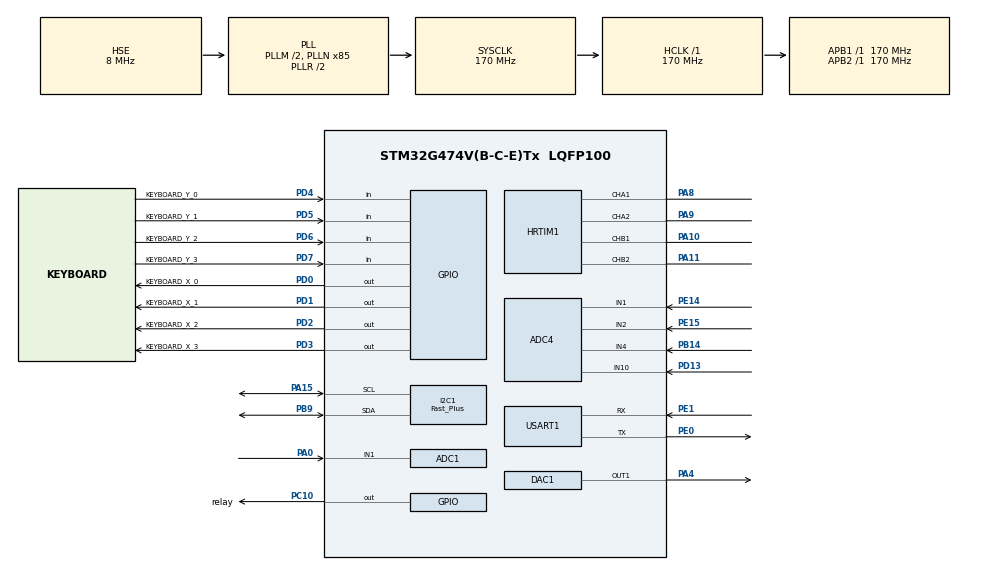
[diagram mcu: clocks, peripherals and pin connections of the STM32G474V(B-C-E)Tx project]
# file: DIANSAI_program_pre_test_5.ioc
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ADC1.Channel-0\#ChannelRegularConversion=ADC_CHANNEL_1
ADC1.DMAContinuousRequests=ENABLE
ADC1.DiscontinuousConvMode=DISABLE
ADC1.EOCSelection=ADC_EOC_SEQ_CONV
ADC1.EnableAnalogWatchDog2=false
ADC1.ExternalTrigConv=ADC_EXTERNALTRIG_HRTIM_TRG1
ADC1.NbrOfConversion=1
ADC1.NbrOfConversionFlag=1
ADC1.OffsetNumber-0\#ChannelRegularConversion=ADC_OFFSET_NONE
ADC1.Overrun=ADC_OVR_DATA_OVERWRITTEN
ADC1.OversamplingMode=ENABLE
ADC1.Rank-0\#ChannelRegularConversion=1
ADC1.Ratio=ADC_OVERSAMPLING_RATIO_32
ADC1.RightBitShift=ADC_RIGHTBITSHIFT_5
ADC1.SamplingTime-0\#ChannelRegularConversion=ADC_SAMPLETIME_12CYCLES_5
ADC1.master=1
ADC4.Channel-0\#ChannelRegularConversion=ADC_CHANNEL_1
ADC4.Channel-1\#ChannelRegularConversion=ADC_CHANNEL_4
ADC4.Channel-2\#ChannelRegularConversion=ADC_CHANNEL_10
ADC4.DMAContinuousRequests=ENABLE
ADC4.DiscontinuousConvMode=ENABLE
ADC4.EOCSelection=ADC_EOC_SEQ_CONV
ADC4.ExternalTrigConv=ADC_EXTERNALTRIG_HRTIM_TRG1
ADC4.NbrOfConversion=3
ADC4.NbrOfConversionFlag=1
ADC4.NbrOfDiscConversion=3
ADC4.OffsetNumber-0\#ChannelRegularConversion=ADC_OFFSET_NONE
ADC4.OffsetNumber-1\#ChannelRegularConversion=ADC_OFFSET_NONE
ADC4.OffsetNumber-2\#ChannelRegularConversion=ADC_OFFSET_NONE
ADC4.Overrun=ADC_OVR_DATA_OVERWRITTEN
ADC4.OversamplingMode=ENABLE
ADC4.Rank-0\#ChannelRegularConversion=1
ADC4.Rank-1\#ChannelRegularConversion=2
ADC4.Rank-2\#ChannelRegularConversion=3
ADC4.Ratio=ADC_OVERSAMPLING_RATIO_8
ADC4.RightBitShift=ADC_RIGHTBITSHIFT_3
ADC4.SamplingTime-0\#ChannelRegularConversion=ADC_SAMPLETIME_12CYCLES_5
ADC4.SamplingTime-1\#ChannelRegularConversion=ADC_SAMPLETIME_12CYCLES_5
ADC4.SamplingTime-2\#ChannelRegularConversion=ADC_SAMPLETIME_12CYCLES_5
ADC4.SingleDiff-0\#ChannelRegularConversion=ADC_DIFFERENTIAL_ENDED
DAC1.DAC_OutputBuffer-DAC_OUT1=DAC_OUTPUTBUFFER_DISABLE
Dma.ADC1.0.Direction=DMA_PERIPH_TO_MEMORY
Dma.ADC1.0.EventEnable=DISABLE
Dma.ADC1.0.Instance=DMA1_Channel1
Dma.ADC1.0.MemDataAlignment=DMA_MDATAALIGN_HALFWORD
Dma.ADC1.0.MemInc=DMA_MINC_ENABLE
Dma.ADC1.0.Mode=DMA_CIRCULAR
Dma.ADC1.0.PeriphDataAlignment=DMA_PDATAALIGN_HALFWORD
Dma.ADC1.0.PeriphInc=DMA_PINC_DISABLE
Dma.ADC1.0.Polarity=HAL_DMAMUX_REQ_GEN_RISING
Dma.ADC1.0.Priority=DMA_PRIORITY_VERY_HIGH
Dma.ADC1.0.RequestNumber=1
Dma.ADC1.0.SignalID=NONE
Dma.ADC1.0.SyncEnable=DISABLE
Dma.ADC1.0.SyncPolarity=HAL_DMAMUX_SYNC_NO_EVENT
Dma.ADC1.0.SyncRequestNumber=1
Dma.ADC1.0.SyncSignalID=NONE
Dma.ADC4.2.Direction=DMA_PERIPH_TO_MEMORY
Dma.ADC4.2.EventEnable=DISABLE
Dma.ADC4.2.Instance=DMA1_Channel3
Dma.ADC4.2.MemDataAlignment=DMA_MDATAALIGN_HALFWORD
Dma.ADC4.2.MemInc=DMA_MINC_ENABLE
Dma.ADC4.2.Mode=DMA_CIRCULAR
Dma.ADC4.2.PeriphDataAlignment=DMA_PDATAALIGN_HALFWORD
Dma.ADC4.2.PeriphInc=DMA_PINC_DISABLE
Dma.ADC4.2.Polarity=HAL_DMAMUX_REQ_GEN_RISING
Dma.ADC4.2.Priority=DMA_PRIORITY_VERY_HIGH
Dma.ADC4.2.RequestNumber=1
Dma.ADC4.2.SignalID=NONE
Dma.ADC4.2.SyncEnable=DISABLE
Dma.ADC4.2.SyncPolarity=HAL_DMAMUX_SYNC_NO_EVENT
Dma.ADC4.2.SyncRequestNumber=1
Dma.ADC4.2.SyncSignalID=NONE
Dma.DAC1_CH1.1.Direction=DMA_MEMORY_TO_PERIPH
Dma.DAC1_CH1.1.EventEnable=DISABLE
Dma.DAC1_CH1.1.Instance=DMA1_Channel2
Dma.DAC1_CH1.1.MemDataAlignment=DMA_MDATAALIGN_HALFWORD
Dma.DAC1_CH1.1.MemInc=DMA_MINC_ENABLE
Dma.DAC1_CH1.1.Mode=DMA_CIRCULAR
Dma.DAC1_CH1.1.PeriphDataAlignment=DMA_PDATAALIGN_HALFWORD
Dma.DAC1_CH1.1.PeriphInc=DMA_PINC_DISABLE
Dma.DAC1_CH1.1.Polarity=HAL_DMAMUX_REQ_GEN_RISING
Dma.DAC1_CH1.1.Priority=DMA_PRIORITY_LOW
Dma.DAC1_CH1.1.RequestNumber=1
Dma.DAC1_CH1.1.SignalID=NONE
Dma.DAC1_CH1.1.SyncEnable=DISABLE
Dma.DAC1_CH1.1.SyncPolarity=HAL_DMAMUX_SYNC_NO_EVENT
Dma.DAC1_CH1.1.SyncRequestNumber=1
Dma.DAC1_CH1.1.SyncSignalID=NONE
Dma.Request0=ADC1
Dma.Request1=DAC1_CH1
Dma.Request2=ADC4
HRTIM1.ADCTrigger1_Source1=HRTIM_ADCTRIGGEREVENT13_MASTER_CMP4
HRTIM1.ADCTrigger_Id1=HRTIM_ADCTRIGGER_1
HRTIM1.CompareUnit1-MasterTimer=__NULL
HRTIM1.CompareUnit1-Output_TA1TA2=HRTIM_COMPAREUNIT_1
HRTIM1.CompareUnit1-Output_TB1TB2=HRTIM_COMPAREUNIT_1
HRTIM1.CompareUnit2-MasterTimer=HRTIM_COMPAREUNIT_2
HRTIM1.CompareUnit3-MasterTimer=HRTIM_COMPAREUNIT_3
HRTIM1.CompareUnit4-MasterTimer=HRTIM_COMPAREUNIT_4
HRTIM1.CompareValue2-MasterTimer=48
HRTIM1.CompareValue3-MasterTimer=48
HRTIM1.CompareValue4-MasterTimer=48
HRTIM1.DeadTimeInsertion-Output_TA1TA2=HRTIM_TIMDEADTIMEINSERTION_ENABLED
HRTIM1.DeadTimeInsertion-Output_TB1TB2=HRTIM_TIMDEADTIMEINSERTION_ENABLED
HRTIM1.FallingSign-Output_TA1TA2=HRTIM_TIMDEADTIME_FALLINGSIGN_POSITIVE
HRTIM1.FallingSign-Output_TB1TB2=HRTIM_TIMDEADTIME_FALLINGSIGN_POSITIVE
HRTIM1.FallingValue-Output_TA1TA2=100
HRTIM1.FallingValue-Output_TB1TB2=100
HRTIM1.ModeTimeBase-Output_TA1TA2=HRTIM_MODE_SINGLESHOT_RETRIGGERABLE
HRTIM1.ModeTimeBase-Output_TB1TB2=HRTIM_MODE_SINGLESHOT_RETRIGGERABLE
HRTIM1.NumberADCTriggerSource1=1
HRTIM1.NumberResetSource1-Output_TA1TA2=1
HRTIM1.NumberResetSource1-Output_TB1TB2=1
HRTIM1.NumberResetTrigger-Output_TA1TA2=1
HRTIM1.NumberResetTrigger-Output_TB1TB2=1
HRTIM1.NumberSetSource1-Output_TA1TA2=1
HRTIM1.NumberSetSource1-Output_TB1TB2=1
HRTIM1.Periode_MASTER=54400
HRTIM1.Periode_TA=54400
HRTIM1.Periode_TB=54400
HRTIM1.PreloadEnable-MasterTimer=HRTIM_PRELOAD_ENABLED
HRTIM1.PreloadEnable-Output_TA1TA2=HRTIM_PRELOAD_ENABLED
HRTIM1.PreloadEnable-Output_TB1TB2=HRTIM_PRELOAD_ENABLED
HRTIM1.PrescalerRatio_MASTER=HRTIM_PRESCALERRATIO_MUL16
HRTIM1.PrescalerRatio_TA=HRTIM_PRESCALERRATIO_MUL16
HRTIM1.PrescalerRatio_TB=HRTIM_PRESCALERRATIO_MUL16
HRTIM1.RepetitionUpdate-MasterTimer=HRTIM_UPDATEONREPETITION_ENABLED
HRTIM1.RepetitionUpdate-Output_TA1TA2=HRTIM_UPDATEONREPETITION_ENABLED
HRTIM1.RepetitionUpdate-Output_TB1TB2=HRTIM_UPDATEONREPETITION_ENABLED
HRTIM1.ResetOutput1_Source1-Output_TA1TA2=HRTIM_OUTPUTRESET_TIMCMP1
HRTIM1.ResetOutput1_Source1-Output_TB1TB2=HRTIM_OUTPUTRESET_TIMCMP1
HRTIM1.ResetTrigger1-Output_TA1TA2=HRTIM_TIMRESETTRIGGER_MASTER_CMP2
HRTIM1.ResetTrigger1-Output_TB1TB2=HRTIM_TIMRESETTRIGGER_MASTER_CMP3
HRTIM1.ResetUpdate-Output_TA1TA2=HRTIM_TIMUPDATEONRESET_ENABLED
HRTIM1.ResetUpdate-Output_TB1TB2=HRTIM_TIMUPDATEONRESET_ENABLED
HRTIM1.RisingSign-Output_TA1TA2=HRTIM_TIMDEADTIME_RISINGSIGN_POSITIVE
HRTIM1.RisingSign-Output_TB1TB2=HRTIM_TIMDEADTIME_RISINGSIGN_POSITIVE
HRTIM1.RisingValue-Output_TA1TA2=100
HRTIM1.RisingValue-Output_TB1TB2=100
HRTIM1.SetOutput1_Source1-Output_TA1TA2=HRTIM_OUTPUTSET_MASTERCMP2
HRTIM1.SetOutput1_Source1-Output_TB1TB2=HRTIM_OUTPUTSET_MASTERCMP3
I2C1.I2C_Speed_Mode=I2C_Fast_Plus
I2C1.Timing=0x00802172
Mcu.Family=STM32G4
Mcu.Name=STM32G474V(B-C-E)Tx
Mcu.Package=LQFP100
NVIC.DMA1_Channel1_IRQn=true\:0\:0\:false\:false\:true\:false\:true\:true
NVIC.DMA1_Channel2_IRQn=true\:0\:0\:false\:false\:true\:false\:true\:true
NVIC.DMA1_Channel3_IRQn=true\:0\:0\:false\:false\:true\:false\:true\:true
NVIC.PriorityGroup=NVIC_PRIORITYGROUP_4
PA0.Mode=IN1-Single-Ended
PA0.Signal=ADC1_IN1
PA10.Mode=Output_TB1TB2
PA10.Signal=HRTIM1_CHB1
PA11.Mode=Output_TB1TB2
PA11.Signal=HRTIM1_CHB2
PA13.Mode=Serial_Wire
PA13.Signal=SYS_JTMS-SWDIO
PA14.Mode=Serial_Wire
PA14.Signal=SYS_JTCK-SWCLK
PA15.Mode=I2C
PA15.Signal=I2C1_SCL
PA4.Signal=COMP_DAC11_group
PA8.Mode=Output_TA1TA2
PA8.Signal=HRTIM1_CHA1
PA9.Mode=Output_TA1TA2
PA9.Signal=HRTIM1_CHA2
PB14.Mode=IN4-Single-Ended
PB14.Signal=ADC4_IN4
PB9.Mode=I2C
PB9.Signal=I2C1_SDA
PC10.GPIO_Label=relay
PC10.GPIO_Speed=GPIO_SPEED_FREQ_VERY_HIGH
PC10.PinState=GPIO_PIN_SET
PC10.Signal=GPIO_Output
PD0.GPIO_Label=KEYBOARD_X_0
PD0.GPIO_PuPd=GPIO_NOPULL
PD0.GPIO_Speed=GPIO_SPEED_FREQ_VERY_HIGH
PD0.PinState=GPIO_PIN_RESET
PD0.Signal=GPIO_Output
PD1.GPIO_Label=KEYBOARD_X_1
PD1.GPIO_PuPd=GPIO_NOPULL
PD1.GPIO_Speed=GPIO_SPEED_FREQ_VERY_HIGH
PD1.PinState=GPIO_PIN_RESET
PD1.Signal=GPIO_Output
PD13.Mode=IN10-Single-Ended
PD13.Signal=ADC4_IN10
PD2.GPIO_Label=KEYBOARD_X_2
PD2.GPIO_PuPd=GPIO_NOPULL
PD2.GPIO_Speed=GPIO_SPEED_FREQ_VERY_HIGH
PD2.PinState=GPIO_PIN_RESET
PD2.Signal=GPIO_Output
PD3.GPIO_Label=KEYBOARD_X_3
PD3.GPIO_PuPd=GPIO_NOPULL
PD3.GPIO_Speed=GPIO_SPEED_FREQ_VERY_HIGH
PD3.PinState=GPIO_PIN_RESET
PD3.Signal=GPIO_Output
PD4.GPIO_Label=KEYBOARD_Y_0
PD4.GPIO_Mode=GPIO_MODE_INPUT
PD4.GPIO_PuPd=GPIO_PULLDOWN
PD4.Signal=GPIO_Input
PD5.GPIO_Label=KEYBOARD_Y_1
PD5.GPIO_Mode=GPIO_MODE_INPUT
PD5.GPIO_PuPd=GPIO_PULLDOWN
PD5.Signal=GPIO_Input
PD6.GPIO_Label=KEYBOARD_Y_2
PD6.GPIO_Mode=GPIO_MODE_INPUT
PD6.GPIO_PuPd=GPIO_PULLDOWN
PD6.Signal=GPIO_Input
PD7.GPIO_Label=KEYBOARD_Y_3
PD7.GPIO_Mode=GPIO_MODE_INPUT
PD7.GPIO_PuPd=GPIO_PULLDOWN
PD7.Signal=GPIO_Input
PE0.Mode=Asynchronous
PE0.Signal=USART1_TX
PE1.Mode=Asynchronous
PE1.Signal=USART1_RX
PE14.Mode=IN1-Differential
PE14.Signal=ADC4_IN1
PE15.Mode=IN1-Differential
PE15.Signal=ADC4_IN2
PF0-OSC_IN.Mode=HSE-External-Oscillator
PF0-OSC_IN.Signal=RCC_OSC_IN
PF1-OSC_OUT.Mode=HSE-External-Oscillator
PF1-OSC_OUT.Signal=RCC_OSC_OUT
ProjectManager.HeapSize=0x400
ProjectManager.StackSize=0x800
ProjectManager.TargetToolchain=MDK-ARM V5.32
RCC.ADC12Freq_Value=170000000
RCC.ADC345Freq_Value=170000000
RCC.AHBFreq_Value=170000000
RCC.APB1Freq_Value=170000000
RCC.APB1TimFreq_Value=170000000
RCC.APB2Freq_Value=170000000
RCC.APB2TimFreq_Value=170000000
RCC.CortexFreq_Value=170000000
RCC.EXTERNAL_CLOCK_VALUE=12288000
RCC.HCLKFreq_Value=170000000
RCC.HSE_VALUE=8000000
RCC.HSI48_VALUE=48000000
RCC.HSI_VALUE=16000000
RCC.LSE_VALUE=32768
RCC.PLLM=RCC_PLLM_DIV2
RCC.PLLN=85
RCC.PLLSourceVirtual=RCC_PLLSOURCE_HSE
RCC.SYSCLKFreq_VALUE=170000000
RCC.SYSCLKSource=RCC_SYSCLKSOURCE_PLLCLK
RCC.USBFreq_Value=170000000
RCC.VCOOutputFreq_Value=340000000
SH.COMP_DAC11_group.0=DAC1_OUT1,DAC_OUT1
TIM6.AutoReloadPreload=TIM_AUTORELOAD_PRELOAD_ENABLE
TIM6.PeriodNoDither=19
TIM6.Prescaler=169
TIM6.TIM_MasterOutputTrigger=TIM_TRGO_UPDATE
USART1.VirtualMode-Asynchronous=VM_ASYNC
VP_HRTIM1_VS_hrtimMasterTimerNoOutput.Mode=MasterTimer
VP_SYS_VS_DBSignals.Mode=DisableDeadBatterySignals
VP_SYS_V_VREFBUF.Mode=ExternalMode
VP_TIM6_VS_ClockSourceINT.Mode=Enable_Timer
board=custom

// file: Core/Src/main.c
/* USER CODE BEGIN Header */
/**
 ******************************************************************************
 * @file           : main.c
 * @brief          : Main program body
 ******************************************************************************
 * @attention
 *
 * Copyright (c) 2023 STMicroelectronics.
 * All rights reserved.
 *
 * This software is licensed under terms that can be found in the LICENSE file
 * in the root directory of this software component.
 * If no LICENSE file comes with this software, it is provided AS-IS.
 *
 ******************************************************************************
 */
/* USER CODE END Header */
#include "main.h"
#include "adc.h"
#include "dac.h"
#include "dma.h"
#include "hrtim.h"
#include "i2c.h"
#include "tim.h"
#include "usart.h"
#include "gpio.h"

/* USER CODE BEGIN Includes */

#include "math.h"
#include "stdio.h"
#include "stdlib.h"
#include "stdarg.h"

#include "arm_math.h"
#include "arm_const_structs.h"

#include "spll_sogi.h"
#include "u8g2.h"

// 电流反向保护
#define USE_Current_Backfilling_PROTECT    // 电流反向保护关闭
#define PROTECT_Current_Backfilling_W (-20) // 电流反向保护：-1w

// 占空比保护
#define USE_DUTYrms_ERROR
#define USE_DUTYrms_ERROR_Value 0.85 // 参考值0.707105
int error_cnt=0;

#define _DEBUG_DUTY_SENSOR_ 2 // 定占空比测传感器极性
#define _DEBUG_ConstVol_ 2    // 恒压
#define _DEBUG_ConstCur_ 3    // 恒流
#define _DEBUG_SPGI_ 4        // 单恒流并网
#define _DEBUG_MAIN_FSM_ 5    // 调试主状态机

//#define __DEBUG _DEBUG_ConstCur_ // shit

// 逆变器为1时取1，为逆变器2是取2
#define INV_MACHINE_NUM 2
// #define INV_MACHINE_NUM 2
#if INV_MACHINE_NUM != 1 && INV_MACHINE_NUM != 2
#error INV_MACHINE_NUM must be between 1 and 2.
#endif
#ifndef INV_MACHINE_NUM
#error INV_MACHINE_NUM must be refered.
#endif //

#if INV_MACHINE_NUM == 1
#define MACHINE_Info ("INV_MACHINE_NUM:1\n")
#endif
#if INV_MACHINE_NUM == 2
#define MACHINE_Info ("INV_MACHINE_NUM:2\n")
#endif

// 并网设置
#include <math.h>
#define SYSTickFreq (170000000UL)
#define Vol_SoftStart_STEP (1.0f)
#define Cur_SoftStart_STEP (0.01f)
#define Vol_SoftStart_aimOverRate 0.05  // 5%
#define Cur_SPGI_beforeSoftStart (2.0f) // 题设：2A

#define MAIN_FSM_POWERON_NoVol_Value (5.0f)   // 低于5Vrms认为没有电压
#define MAIN_FSM_ConstVol_VALUE (24)          // 题设要求24Vrms
#define MAIN_FSM_POWERON_AVERAGE_number (100) // 100次均值滤波后判断

// fsm_UI_Com
#define CON_CUR_Io_initial Cur_SPGI_beforeSoftStart*2 //should be 2 bei
#define CON_CUR_k_initial 1

#define HRTIM_MAB_PERIOD (54400)

extern SPLL_1PH_SOGI spll1;

void error();

typedef enum ref_sine_src
{
  ref_sine_src_enum_Internal_sine = 0,
  ref_sine_src_enum_PLL_sine
} ref_sine_src_enum;

typedef enum loop_Controller
{
  V_loop = 0,
  I_loop
} loop_switch_enum;

typedef enum loopShutdown
{
  loopCtrl_on,
  loopCtrl_off
} loopShutdown_enum;
typedef struct loopCtrl
{
  ref_sine_src_enum ref_sine_src;

  loop_switch_enum loop_switch_enum;

  // 环路初始状态控制
  loopShutdown_enum loopShutdown; // 初始值占空比必须设置为0.5f

  float V_rms_aim; // 单位为Vrms，中断的代码中可以针对需求进行放大/缩小
  float I_rms_aim; // 单位为Arms，中断的代码中可以针对需求进行放大/缩小
} loopCtrl_t;

loopCtrl_t Loop_Controller;

typedef enum fsm_UI_mode
{
  fsm_UI_mode_idle,
  fsm_UI_mode_Cur,
#if INV_MACHINE_NUM == 1
  fsm_UI_mode_Vol,
#endif
} fsm_UI_mode_enum;

typedef struct Con_Cur
{
  float Io;
  float k;
  float en_flag;
} Con_Cur_t;
typedef struct fsm_UI_com
{
  fsm_UI_mode_enum fsm_UI_mode;
  Con_Cur_t Con_Cur_info;
} fsm_UI_com_t;
fsm_UI_com_t fsm_UI_communication = {fsm_UI_mode_idle, {CON_CUR_Io_initial, CON_CUR_k_initial, 1}};

GPIO_PinState MYHAL_GPIO_ReadPin(GPIO_TypeDef *GPIOx, uint16_t GPIO_Pin)
{
  return (GPIOx->IDR & GPIO_Pin) ? GPIO_PIN_SET : GPIO_PIN_RESET;
}

void MYHAL_GPIO_SetPin(GPIO_TypeDef *GPIOx, uint16_t GPIO_Pin)
{
  GPIOx->BSRR = GPIO_Pin;
}

void MYHAL_GPIO_ResetPin(GPIO_TypeDef *GPIOx, uint16_t GPIO_Pin)
{
  GPIOx->BSRR = (uint32_t)GPIO_Pin << 16U;
}

void MYHAL_GPIO_TogglePin(GPIO_TypeDef *GPIOx, uint16_t GPIO_Pin)
{
  uint32_t odr = GPIOx->ODR;
  GPIOx->BSRR = ((odr & GPIO_Pin) << 16U) | (~odr & GPIO_Pin);
}

/* USER CODE END Includes */

/* USER CODE BEGIN PTD */
#define CLAMP(x, max, min) ((x < max) ? ((x > min) ? x : min) : max)
float o_Vol, i_Vol, o_Cur, o_Cur_ref, o_Vol_ref, k_Vol, k_Cur;
float o_Vol_Vp_N, o_Vol_Vp_P, o_Vol_Vp, o_Vol_Vpp, o_Vol_rms, o_Vol_rms_sum;
float o_Cur_rms, o_Cur_rms_sum;
float acBusVol, acBusVol_rms, acBusVol_rms_sum;
float o_Power; // o_Power_rms; //o_Power=o_Vol*o_Cur

float duty_Virtual, duty_Virtual_rms, duty_Virtual_rms_sum; //-1~1

uint16_t Caculate_50k_to_50_index;

float HB_duty, ref_sine;
uint16_t ADC_Value[4] = {0};
uint16_t DAC_Value = 0;
float y0;
float y1;
float sinf_out;

float sin_Phase_det = 0; // -2.65;

float pll_sine, internal_sine;

uint32_t ARR;
/* USER CODE END PTD */

void SystemClock_Config(void);

/* USER CODE BEGIN 0 */

uint16_t ADC_buffer_1[1];
uint16_t ADC_buffer_2[3];
uint16_t DAC_buffer[1];

void MY_HRTIM_SetDuty_MAB(float duty_to_set, float duty_min, float duty_max); // 0<=duty_min<=duty_to_set<=duty_max<=1

// KEYBOARD
#define Keyboard_X 4
#define Keyboard_Y 4
__IO int i_Keyboard, j_Keyboard;
__IO GPIO_PinState Keyboard_state_temp;
__IO uint16_t Keyboard_state, Keyboard_state_last;
__IO uint8_t Keyboard_state_4x4[4][4];

GPIO_TypeDef *Keyboard_X_output_ports[Keyboard_X] = {KEYBOARD_X_0_GPIO_Port, KEYBOARD_X_1_GPIO_Port, KEYBOARD_X_2_GPIO_Port, KEYBOARD_X_3_GPIO_Port};
uint16_t Keyboard_X_output_pins[Keyboard_X] = {KEYBOARD_X_0_Pin, KEYBOARD_X_1_Pin, KEYBOARD_X_2_Pin, KEYBOARD_X_3_Pin};

GPIO_TypeDef *Keyboard_Y_output_ports[Keyboard_Y] = {KEYBOARD_Y_0_GPIO_Port, KEYBOARD_Y_1_GPIO_Port, KEYBOARD_Y_2_GPIO_Port, KEYBOARD_Y_3_GPIO_Port};
uint16_t Keyboard_Y_output_pins[Keyboard_Y] = {KEYBOARD_Y_0_Pin, KEYBOARD_Y_1_Pin, KEYBOARD_Y_2_Pin, KEYBOARD_Y_3_Pin};

char KB_input_char[32];
float KB_input_float;
uint8_t point_num;

// OLED
char OLED_I2C_Str[6][32];
u8g2_t OLED_I2C1;
uint8_t u8x8_OLED_I2C1_gpio_and_delay(U8X8_UNUSED u8x8_t *u8x8, U8X8_UNUSED uint8_t msg, U8X8_UNUSED uint8_t arg_int, U8X8_UNUSED void *arg_ptr);
uint8_t u8x8_OLED_I2C1_hw(u8x8_t *u8x8, uint8_t msg, uint8_t arg_int, void *arg_ptr);

// UI
uint8_t flash_bit;
uint8_t to_set_or_set = 0;
uint8_t Parameter_adj_enable = 0;
uint8_t value_set_now;

// 必须等于使用数量
#define Parameter_list_num 5
float Pl_test_0, Pl_test_1, Pl_test_2, Pl_test_3, Pl_test_4;
// Parameter_list
float *Parameter_list_pointer[Parameter_list_num] = {&Pl_test_0, &Pl_test_1, &Pl_test_2, &Pl_test_3, &Pl_test_4};
char Parameter_list_name[Parameter_list_num][32] = {"Pl_test_0", "Pl_test_1", "Pl_test_2", "Pl_test_3", "Pl_test_4"};

uint8_t Parameter_list_use_now;

float y0;
float y1;
float sinf_out;

/* 控制代码 */

typedef struct
{
  float A0;       /**< The derived gain, A0 = Kp + Ki + Kd . */
  float A1;       /**< The derived gain, A1 = -Kp - 2Kd. */
  float A2;       /**< The derived gain, A2 = Kd . */
  float state[3]; /**< The state array of length 3. */
  float Kp;       /**< The proportional gain. */
  float Ki;       /**< The integral gain. */
  float Kd;       /**< The derivative gain. */
} PID_t;
PID_t pid_o_Cur = {
    .Kp = 0.1,
    .Ki = 0.6};
PID_t pid_o_Vol = {
    .Kp = 0.02,
    .Ki = 0.01,
    .Kd = 0.00};
void pid_init(PID_t *S)
{
  /* Derived coefficient A0 */
  S->A0 = S->Kp + S->Ki + S->Kd;
  /* Derived coefficient A1 */
  S->A1 = (-S->Kp) - ((float)2.0f * S->Kd);
  /* Derived coefficient A2 */
  S->A2 = S->Kd;
}
float pid_process_o_Cur(PID_t *S, float aim, float current, float out_max, float out_min)
{
  pid_init(S);
  float out;
  float in = aim - current;

  /* u[t] = u[t - 1] + A0 * e[t] + A1 * e[t - 1] + A2 * e[t - 2]  */
  out = (S->A0 * in) +
        (S->A1 * S->state[0]) + (S->A2 * S->state[1]) + (S->state[2]);

  /* Update state */
  S->state[1] = S->state[0];
  S->state[0] = in;
  S->state[2] = out;

  out = CLAMP(out, out_max, out_min);
  /* return to application */
  return (out);
}
float pid_process_o_Vol(PID_t *S, float aim, float current, float out_max, float out_min)
{
  pid_init(S);
  float out;
  float in = aim - current;

  /* u[t] = u[t - 1] + A0 * e[t] + A1 * e[t - 1] + A2 * e[t - 2]  */
  out = (S->A0 * in) +
        (S->A1 * S->state[0]) + (S->A2 * S->state[1]) + (S->state[2]);

  /* Update state */
  S->state[1] = S->state[0];
  S->state[0] = in;
  S->state[2] = out;

  out = CLAMP(out, out_max, out_min);

  /* return to application */
  return (out);
}

// PR_t
#define pr_PI 3.141592654f
typedef struct
{
  float Kp;
  float Kr;
  float wo;
  float wc;
  float Ts;
  float A0, A1, A2, B0, B1, B2;
  float vo, vo_1, vo_2;
  float vi, vi_1, vi_2;
  float temp;
} PR_t;

// PR_t pr_o_Cur = {
//     .Kp = 10,
//     .Kr = 3000,
//     .wo = 50 * pr_PI * 2,
//     .wc = pr_PI,
//     .Ts = 0.00002f};
PR_t pr_o_Cur = {
    .Kp = 10,
    .Kr = 3000,
    .wo = 50 * pr_PI * 2,
    .wc = pr_PI,
    .Ts = 0.00002f};
PR_t pr_o_Vol = {
    .Kp = 10,
    .Kr = 3000,
    .wo = 50 * pr_PI * 2,
    .wc = pr_PI,
    .Ts = 0.00002};

void PR_init(PR_t *p)
{
  float temp = 0;
  // p->Ts = Ts;
  // p->Kp = Kp;
  // p->Kr = Kr;
  // p->wc = wc;
  // p->wo = wo;
  temp = 4 / p->Ts / p->Ts + 4 * p->wc / p->Ts + p->wo * p->wo;

  p->B0 = (4 * p->Kp / p->Ts / p->Ts + 4 * p->wc * (p->Kp + p->Kr) / p->Ts + p->Kp * p->wo * p->wo) / temp;
  p->B1 = (-8 * p->Kp / p->Ts / p->Ts + 2 * p->Kp * p->wo * p->wo) / temp;
  p->B2 = (4 * p->Kp / p->Ts / p->Ts - 4 * p->wc / p->Ts * (p->Kp + p->Kr) + p->Kp * p->wo * p->wo) / temp;
  p->A1 = (-8 / p->Ts / p->Ts + 2 * p->wo * p->wo) / temp;
  p->A2 = (4 / p->Ts / p->Ts - 4 * p->wc / p->Ts + p->wo * p->wo) / temp;
}
void PR_process_o_Cur_init(PR_t *p, float Kp, float Kr, float Ts, float wc, float wo)
{
  float temp = 0;
  // p->Ts = Ts;
  // p->Kp = Kp;
  // p->Kr = Kr;
  // p->wc = wc;
  // p->wo = wo;
  temp = 4 / p->Ts / p->Ts + 4 * p->wc / p->Ts + p->wo * p->wo;

  p->B0 = (4 * p->Kp / p->Ts / p->Ts + 4 * p->wc * (p->Kp + p->Kr) / p->Ts + p->Kp * p->wo * p->wo) / temp;
  p->B1 = (-8 * p->Kp / p->Ts / p->Ts + 2 * p->Kp * p->wo * p->wo) / temp;
  p->B2 = (4 * p->Kp / p->Ts / p->Ts - 4 * p->wc / p->Ts * (p->Kp + p->Kr) + p->Kp * p->wo * p->wo) / temp;
  p->A1 = (-8 / p->Ts / p->Ts + 2 * p->wo * p->wo) / temp;
  p->A2 = (4 / p->Ts / p->Ts - 4 * p->wc / p->Ts + p->wo * p->wo) / temp;
  /*PRpr;
   * ????
   * y[n]+A1[n-1]+A2[n-2]=B0x[n]+B1x[n-1]+B2[n-2]
   */
}

float PR_process_o_Cur(PR_t *p, float aim, float cur)
{
  p->vi = aim - cur;
  p->vo = -p->A1 * p->vo_1 - p->A2 * p->vo_2 + p->B0 * p->vi + p->B1 * p->vi_1 + p->B2 * p->vi_2;

  // update and store
  p->vo_2 = p->vo_1;
  p->vo_1 = p->vo;
  p->vi_2 = p->vi_1;
  p->vi_1 = p->vi;

  //  float out = CLAMP(p->vo, 99, -99);
  //  return out;
  p->vo = CLAMP(p->vo, 99, -99);
  return p->vo;
}

void PR_process_o_Vol_init(PR_t *p, float Kp, float Kr, float Ts, float wc, float wo)
{
  float temp = 0;
  p->Ts = Ts;
  p->Kp = Kp;
  p->Kr = Kr;
  p->wc = wc;
  p->wo = wo;
  temp = 4 / p->Ts / p->Ts + 4 * p->wc / p->Ts + p->wo * p->wo;

  p->B0 = (4 * p->Kp / p->Ts / p->Ts + 4 * p->wc * (p->Kp + p->Kr) / p->Ts + p->Kp * p->wo * p->wo) / temp;
  p->B1 = (-8 * p->Kp / p->Ts / p->Ts + 2 * p->Kp * p->wo * p->wo) / temp;
  p->B2 = (4 * p->Kp / p->Ts / p->Ts - 4 * p->wc / p->Ts * (p->Kp + p->Kr) + p->Kp * p->wo * p->wo) / temp;
  p->A1 = (-8 / p->Ts / p->Ts + 2 * p->wo * p->wo) / temp;
  p->A2 = (4 / p->Ts / p->Ts - 4 * p->wc / p->Ts + p->wo * p->wo) / temp;
  /*PRpr;
   * ????
   * y[n]+A1[n-1]+A2[n-2]=B0x[n]+B1x[n-1]+B2[n-2]
   */
}

float PR_process_o_Vol(PR_t *p, float aim, float cur)
{
  p->vi = aim - cur;
  p->vo = -p->A1 * p->vo_1 - p->A2 * p->vo_2 + p->B0 * p->vi + p->B1 * p->vi_1 + p->B2 * p->vi_2;

  // update and store
  p->vo_2 = p->vo_1;
  p->vo_1 = p->vo;
  p->vi_2 = p->vi_1;
  p->vi_1 = p->vi;

  float out = CLAMP(p->vo, 99, -99);
  return out;
  //  p->vo = CLAMP(p->vo, 99, -99);
  //  return p->vo;
}

int UART_printf(UART_HandleTypeDef *huart, const char *fmt, ...)
{
  va_list ap;
  va_start(ap, fmt);
  int length;
  char buffer[128];
  length = vsnprintf(buffer, 128, fmt, ap);
  HAL_UART_Transmit(huart, (uint8_t *)buffer, length, HAL_MAX_DELAY); // HAL_MAX_DELAY
  //    CDC_Transmit_FS((uint8_t*)buffer,length);
  va_end(ap);
  return length;
}

/**
 * @brief 并网业务逻辑代码
 *
 * @author TT && FF
 */

typedef enum inv_state
{
  Vol_inv,
  Cur_inv,
  Cur_GI
} inv_state_enum;
typedef enum SPGI_state
{
  IDLE,
  PLL_stage,
  Voltage_Sync_softStart,
  Voltage_Sync_stage,

  SPGI_OK,
  SPGI_SoftStart,
  SPGI_Working,
  SPGI_Error
} SPGI_state_enum; // Single Phase Grid-connected Inverter

/**
 * @brief 主业务逻辑代码  part1
 *
 * 完成赛题要求
 */

typedef enum PowerOn_acBusVol
{
  PowerOn_acBusVol_detected,
  PowerOn_acBusVol_NOT_detected,

} PowerOn_acBusVol_enum;
typedef enum main_fsm
{
  main_fsm_IDLE,
  main_fsm_Poweron_detect_stage,
#if INV_MACHINE_NUM == 1
  main_fsm_Vol_Cons,
#endif
  main_fsm_Cur_Cons
} main_fsm_enum;
typedef struct fsm
{
  main_fsm_enum main_fsm_state;
  inv_state_enum inv_state;
  SPGI_state_enum SPGI_state;

  PowerOn_acBusVol_enum PowerOn_acBusVol_state;
} fsm_t;

fsm_t fsm;

void SPGI_LED(SPGI_state_enum stageName, int LED_Value)
{
  if (stageName == IDLE)
  {
  }
  else if (stageName == PLL_stage)
  {
  }
  else if (stageName == Voltage_Sync_softStart)
  {
  }
  else if (stageName == Voltage_Sync_stage)
  {
  }
  else if (stageName == SPGI_OK)
  {
  }
  else if (stageName == SPGI_Working)
  {
  }
  else if (stageName == SPGI_Error)
  {
  }
}
void SPGI_LED_init()
{
  SPGI_LED(IDLE, 0);
  SPGI_LED(PLL_stage, 0);
  SPGI_LED(Voltage_Sync_softStart, 0);
  SPGI_LED(Voltage_Sync_stage, 0);
  SPGI_LED(SPGI_OK, 0);
  SPGI_LED(SPGI_Working, 0);
  SPGI_LED(SPGI_Error, 0);
}
unsigned int get_SysTick()
{
  return 100000000;
  // return HAL_GetTick();
}
/**
 * 斜坡函数 实现类似y=ax+b功能
 * @param slewVal x
 * @param refVal  y
 * @param slewRate a
 * @return
 */
float Slew_Func(float *slewVal, float refVal, float slewRate)
{
  static float diff = 0;
  diff = refVal - *slewVal;
  if (diff >= slewRate)
  {
    *slewVal += slewRate;
    return (1);
  }
  else if (-diff >= slewRate)
  {
    *slewVal -= slewRate;
    return (-1);
  }
  else
  {
    *slewVal = refVal;
    return (0);
  }
}
int SPGI_fsm(fsm_t *fsm,
             /*控制输入参量*/
             float acBusVol_rms, float o_Vol_rms,
             float acBusVol, float o_Vol,
             /*控制参量*/
             loopCtrl_t *ploopCtrl,
             /*继电器控制*/
             void SPGI_Connect_Func(), void SPGI_disConnect_Func())
{
  static unsigned int pllStage_t0 = 0;
  switch (fsm->SPGI_state)
  {
  case (IDLE):
  {
    fsm->SPGI_state = Voltage_Sync_softStart;
    // 切换PLL源
    ploopCtrl->ref_sine_src = ref_sine_src_enum_PLL_sine;
    // 开路，保证功率级稳定性
    (*SPGI_disConnect_Func)();
    // 初始化指示灯
    SPGI_LED_init();
    pllStage_t0 = get_SysTick(); // 跳转前记录

    // 先将输出电压幅值定为当前采样的
    ploopCtrl->V_rms_aim = o_Vol_rms;

    ploopCtrl->I_rms_aim = 0;
  }
  break;
  case (Voltage_Sync_softStart):
  {
    if (!Slew_Func(&(ploopCtrl->V_rms_aim), acBusVol_rms * (1 + Vol_SoftStart_aimOverRate), Vol_SoftStart_STEP))
    {
      fsm->SPGI_state = Voltage_Sync_stage;
      SPGI_LED(Voltage_Sync_softStart, 0);
    }
    else
    {
      fsm->SPGI_state = Voltage_Sync_softStart;
      SPGI_LED(Voltage_Sync_softStart, 1);
    }
  }
  break;

  case (Voltage_Sync_stage):
  {
    if (fabs(acBusVol_rms - o_Vol_rms) < acBusVol_rms * 0.05f)
    {
      fsm->SPGI_state = PLL_stage;
      SPGI_LED(Voltage_Sync_stage, 0);
    }
    else
    {
      fsm->SPGI_state = Voltage_Sync_stage;
      SPGI_LED(Voltage_Sync_stage, 1);
    }
  }
  break;

  case (PLL_stage):
  {
    //    float delta_tick = (float)(get_SysTick() - pllStage_t0);
    //    if (delta_tick < 0)
    //    {
    //      delta_tick = 2.0f * SYSTickFreq;
    //    }
    //    if ((fabsf(acBusVol - o_Vol) < acBusVol * 0.05) && (delta_tick > 1.0f * SYSTickFreq)) // 锁相完成:且间隔大于1s
    //    {
    //      // 跳转下一个阶段
    //      fsm->SPGI_state = SPGI_OK;
    //      // 指示锁相完成
    //      SPGI_LED(PLL_stage, 0);
    //    }
    //    else
    //    {
    //      fsm->SPGI_state = PLL_stage;
    //      SPGI_LED(PLL_stage, 1);
    //    }

    if ((fabsf(acBusVol - o_Vol) < acBusVol * 0.05)) // 锁相完成:且间隔大于1s
    {
      // 跳转下一个阶段
      fsm->SPGI_state = SPGI_OK;
      // 指示锁相完成
      SPGI_LED(PLL_stage, 0);
    }
    else
    {
      fsm->SPGI_state = PLL_stage;
      SPGI_LED(PLL_stage, 1);
    }

    // 跳过
    // fsm->SPGI_state = SPGI_OK;
  }
  break;

  case (SPGI_OK):
  {
    if (1)
    {
      fsm->SPGI_state = SPGI_SoftStart;
      SPGI_LED(SPGI_OK, 0);
    }
    else
    {
      fsm->SPGI_state = SPGI_OK;
      SPGI_LED(SPGI_OK, 1);
    }
  }
  break;

  case (SPGI_SoftStart):
  {
    if (!Slew_Func(&(ploopCtrl->I_rms_aim), Cur_SPGI_beforeSoftStart, Cur_SoftStart_STEP))
    {
      fsm->SPGI_state = SPGI_Working;
      SPGI_LED(SPGI_SoftStart, 0);
    }
    else
    {
      fsm->SPGI_state = SPGI_SoftStart;
      SPGI_LED(SPGI_SoftStart, 1);
    }
  }
  break;

  case (SPGI_Working):
  {

    // fsm->SPGI_state = SPGI_Working;
    SPGI_LED(SPGI_Working, 1);
  }
  break;

  default:
  {
    fsm->SPGI_state = IDLE;
  }
  break;
  }

  /*执行*/
  if (fsm->SPGI_state == Voltage_Sync_stage)
  {
    // 设定稳压值,追踪母线电压
    ploopCtrl->V_rms_aim = acBusVol_rms * (1 + Vol_SoftStart_aimOverRate);
    // 切换成稳压环
    ploopCtrl->loop_switch_enum = V_loop;
  }
  else if (fsm->SPGI_state == PLL_stage)
  {
    // 切换PLL
    ploopCtrl->ref_sine_src = ref_sine_src_enum_PLL_sine;
  }
  else if (fsm->SPGI_state == SPGI_OK)
  {
    // 设置目标电流
    ploopCtrl->I_rms_aim = Cur_SPGI_beforeSoftStart; // 默认0.01A
    // 开继电器
    (*SPGI_Connect_Func)(); // 合路
    // 切换恒流环
    ploopCtrl->loop_switch_enum = I_loop;
  }
  else if (fsm->SPGI_state == SPGI_Working)
  {
    return (0); // 并网完成
  }
  return (-1); // 并网尚未完成
}

/**
 * @brief 业务逻辑代码  part2
 *
 * 完成赛题要求
 */
void main_fsm(fsm_UI_com_t *pfsm_UI, fsm_t *fsm,
              /*控制输入参量*/
              float acBusVol_rms, float o_Vol_rms,
              float acBusVol, float o_Vol,
              /*控制参量*/
              loopCtrl_t *ploopCtrl,
              /*继电器控制*/
              void Relay_Connect_Func(), void Relay_disConnect_Func())
{
  /**
   * machine1:
   *        上电：mode machine1_Mode_acBusVol_on
   *        无电：mode machine1_Mode_acBusVol_off
   *
   */
  static int PowerOn_detect_cnt = 0;
  static float PowerOn_detect_acBusVol_rms_sum = 0, PowerOn_detect_acBusVol_rms_ave = 0;
  if (fsm->main_fsm_state == main_fsm_IDLE)
  {
    // 初始化：
    Relay_disConnect_Func();

    // 跳转到上电零电压检测
    fsm->main_fsm_state = main_fsm_Poweron_detect_stage;
  }
  else if (fsm->main_fsm_state == main_fsm_Poweron_detect_stage)
  {
    PowerOn_detect_acBusVol_rms_sum += acBusVol_rms;
    PowerOn_detect_cnt++;
    if (PowerOn_detect_cnt > 100)
    {
      PowerOn_detect_acBusVol_rms_ave = PowerOn_detect_acBusVol_rms_sum / (float)PowerOn_detect_cnt;
      // 恢复初始
      PowerOn_detect_acBusVol_rms_sum = 0;
      PowerOn_detect_cnt = 0;
      if (PowerOn_detect_acBusVol_rms_ave > MAIN_FSM_POWERON_NoVol_Value)
      {
        // 100次平均采样为大于0.1Vrms，母线上电，进行跳转
        // 当为machine1时，跳转到恒流并网模式
        // 当为machine2时，也跳转到恒流并网模式
        fsm->main_fsm_state = main_fsm_Cur_Cons;
      }
      else
      {
        // 100次平均采样为小于于0.1Vrms，母线未上电，进行跳转
        // 当为machine1时，跳转到恒压模式
#if INV_MACHINE_NUM == 1
        fsm->main_fsm_state = main_fsm_Vol_Cons;
#endif
        // 当为machine2时，保持原状态
#if INV_MACHINE_NUM == 2
        fsm->main_fsm_state = main_fsm_Poweron_detect_stage;
#endif
      }
    }
  }
#if INV_MACHINE_NUM == 1
  else if (fsm->main_fsm_state == main_fsm_Vol_Cons)
  {
        // 报告状态:恒压
    pfsm_UI->fsm_UI_mode = fsm_UI_mode_Vol;

    // 恒压任务：
    // 切换成内部sine源
    ploopCtrl->ref_sine_src = ref_sine_src_enum_Internal_sine;
    // 设置恒压幅度

    ploopCtrl->V_rms_aim = MAIN_FSM_ConstVol_VALUE;

    // 选择闭环控制器
    ploopCtrl->loop_switch_enum = V_loop;
    // 合路
    Relay_Connect_Func();

  }
#endif

  else if (fsm->main_fsm_state == main_fsm_Cur_Cons)
  {
      // 报告状态:恒liu
      pfsm_UI->fsm_UI_mode = fsm_UI_mode_Cur;
    // 恒流任务：并网
    // 并网完成后进入if内部
    if (!SPGI_fsm(fsm, acBusVol_rms, o_Vol_rms, acBusVol, o_Vol, ploopCtrl, Relay_Connect_Func, Relay_disConnect_Func))
    {

      // 设置恒流幅度
      if (pfsm_UI->Con_Cur_info.en_flag == 1)
      {
        // machine1: I1=k*Io/(1+k)
#if INV_MACHINE_NUM == 1
        ploopCtrl->I_rms_aim = pfsm_UI->Con_Cur_info.Io * pfsm_UI->Con_Cur_info.k / (1 + pfsm_UI->Con_Cur_info.k);
#endif
        // machine2: I2=Io/(1+k)
#if INV_MACHINE_NUM == 2
        ploopCtrl->I_rms_aim = pfsm_UI->Con_Cur_info.Io / (1 + pfsm_UI->Con_Cur_info.k);
#endif
      }
    }
  }
}
void Relay_Connect_Func()
{
  HAL_GPIO_WritePin(relay_GPIO_Port, relay_Pin, 1);
}
void Relay_disConnect_Func()
{

#if __DEBUG == _DEBUG_DUTY_SENSOR_ || __DEBUG == _DEBUG_ConstVol_ || __DEBUG == _DEBUG_ConstCur_
  HAL_GPIO_WritePin(relay_GPIO_Port, relay_Pin, 1);
#else
  HAL_GPIO_WritePin(relay_GPIO_Port, relay_Pin, 0);
#endif
}

/**
 * @brief 业务逻辑代码  part2
 *
 * 完成赛题要求
 */

/* USER CODE END 0 */

int main(void)
{

  /* MCU Configuration--------------------------------------------------------*/

  /* Reset of all peripherals, Initializes the Flash interface and the Systick. */
  HAL_Init();

  /* Configure the system clock */
  SystemClock_Config();

  /* Initialize all configured peripherals */
  MX_GPIO_Init();
  MX_DMA_Init();
  MX_ADC1_Init();
  MX_DAC1_Init();
  MX_HRTIM1_Init();
  MX_TIM6_Init();
  MX_USART1_UART_Init();
  MX_ADC4_Init();
  MX_I2C1_Init();
  /* USER CODE BEGIN 2 */
Soft_Reset:
  HAL_Delay(2000);
  Relay_disConnect_Func();

#ifdef __DEBUG
  UART_printf(&huart1, MACHINE_Info);
#endif

  HAL_ADCEx_Calibration_Start(&hadc1, ADC_DIFFERENTIAL_ENDED);
  HAL_ADCEx_Calibration_Start(&hadc4, ADC_DIFFERENTIAL_ENDED);

  HAL_Delay(100);

#if __DEBUG == _DEBUG_ConstVol_
  Loop_Controller.loop_switch_enum = V_loop;
  Loop_Controller.V_rms_aim = 15;
  Loop_Controller.ref_sine_src = ref_sine_src_enum_Internal_sine;
#endif
#if __DEBUG == _DEBUG_ConstCur_
  Loop_Controller.loop_switch_enum = I_loop;
  Loop_Controller.I_rms_aim = 0.5;
  Loop_Controller.ref_sine_src = ref_sine_src_enum_Internal_sine;
#endif
#if __DEBUG == _DEBUG_SPGI_
  Loop_Controller.loop_switch_enum = V_loop;
  Loop_Controller.V_rms_aim = 0;
  Loop_Controller.ref_sine_src = ref_sine_src_enum_PLL_sine;
#endif

  // PR控制器初始化
  PR_init(&pr_o_Vol);
  PR_init(&pr_o_Cur);

  // 初始化SPLL
  spll_Start_wrapper();

  // 打开ADC

  HAL_ADC_Start_DMA(&hadc1, (uint32_t *)ADC_buffer_1, 1);
  HAL_ADC_Start_DMA(&hadc4, (uint32_t *)ADC_buffer_2, 3);
  HAL_DAC_Start(&hdac1, DAC_CHANNEL_1);
  // HAL_DAC_Start_DMA(&hdac1,DAC_CHANNEL_1,(uint32_t *)DAC_buffer,1,DAC_ALIGN_12B_R);
  // HAL_DAC_Start(&hdac1,DAC_CHANNEL_1);

  MY_HRTIM_SetDuty_MAB(0.7, 0.1, 0.9);

  HAL_HRTIM_WaveformCounterStart(&hhrtim1, HRTIM_TIMERID_MASTER);
  HAL_HRTIM_WaveformOutputStart(&hhrtim1, HRTIM_OUTPUT_TA1 | HRTIM_OUTPUT_TA2); // 通道打开
  HAL_HRTIM_WaveformOutputStart(&hhrtim1, HRTIM_OUTPUT_TB1 | HRTIM_OUTPUT_TB2); // 通道打开
  HAL_HRTIM_WaveformCounterStart(&hhrtim1, HRTIM_TIMERID_TIMER_A);              // 开启子定时器A
  HAL_HRTIM_WaveformCounterStart(&hhrtim1, HRTIM_TIMERID_TIMER_B);              // 开启子定时器B

  HAL_TIM_Base_Start(&htim6);

  u8g2_Setup_ssd1306_i2c_128x64_noname_1(&OLED_I2C1, U8G2_R0, u8x8_OLED_I2C1_hw, u8x8_OLED_I2C1_gpio_and_delay);
  u8g2_InitDisplay(&OLED_I2C1);
  u8g2_SetPowerSave(&OLED_I2C1, 0);

  HAL_Delay(1000);

  /* USER CODE END 2 */

  /* Infinite loop */
  /* USER CODE BEGIN WHILE */

  // error();
  while (1)
  {
#ifdef __DEBUG
    // UART_printf(&huart1, MACHINE_Info);
#endif

#if __DEBUG == _DEBUG_DUTY_SENSOR_
    HB_duty = 0.7f;
UART_printf(&huart1, "value:%f,%f,%f,%f,%f\n", HB_duty, o_Vol, o_Vol_rms, o_Cur_rms, o_Cur);
#endif
#if __DEBUG == _DEBUG_ConstVol_
    UART_printf(&huart1, "value:%f,%f,%f,%f,%f\n", HB_duty, o_Vol, o_Vol_rms, o_Cur_rms, o_Cur);
#endif
#if __DEBUG == _DEBUG_ConstCur_
    UART_printf(&huart1, "value:%f,%d,%f,%f,%f\n", HB_duty, error_cnt, o_Cur_rms, k_Cur, o_Vol);
#endif
    // UART_printf(&huart1, "value:%f,%f,%f,%f,%f\n", HB_duty, o_Cur, o_Cur_rms, acBusVol, k_Cur);

#if __DEBUG == _DEBUG_SPGI_
    // 并网使用示例
    SPGI_fsm(&fsm, acBusVol_rms, o_Vol_rms, acBusVol, o_Vol, &Loop_Controller, &Relay_Connect_Func, &Relay_disConnect_Func);
#endif
#if __DEBUG == _DEBUG_MAIN_FSM_
    //  主fsm状态机入口
    main_fsm(&fsm_UI_communication, &fsm, acBusVol_rms, o_Vol_rms, acBusVol, o_Vol, &Loop_Controller, Relay_Connect_Func, Relay_disConnect_Func);
    UART_printf(&huart1, "value:%f,%f,%f,%f,%f,%f,%f\n", HB_duty, o_Vol, o_Vol_rms, o_Cur, o_Cur_rms, acBusVol, o_Power);
#endif
#ifndef __DEBUG

    //  主fsm状态机入口
    main_fsm(&fsm_UI_communication, &fsm, acBusVol_rms, o_Vol_rms, acBusVol, o_Vol, &Loop_Controller, Relay_Connect_Func, Relay_disConnect_Func);

#endif // !
    /* USER CODE END WHILE */

    /* USER CODE BEGIN 3 */
#ifndef __DEBUG
    for (i_Keyboard = 0; i_Keyboard < Keyboard_X; i_Keyboard++)
    {
      MYHAL_GPIO_SetPin(Keyboard_X_output_ports[i_Keyboard], Keyboard_X_output_pins[i_Keyboard]);
      for (j_Keyboard = 0; j_Keyboard < Keyboard_Y; j_Keyboard++)
      {
        Keyboard_state = Keyboard_state << 1;
        Keyboard_state_temp = MYHAL_GPIO_ReadPin(Keyboard_Y_output_ports[j_Keyboard], Keyboard_Y_output_pins[j_Keyboard]);
        Keyboard_state_4x4[i_Keyboard][j_Keyboard] = (uint8_t)Keyboard_state_temp;
        Keyboard_state |= Keyboard_state_temp;
      }
      MYHAL_GPIO_ResetPin(Keyboard_X_output_ports[i_Keyboard], Keyboard_X_output_pins[i_Keyboard]);
    }

    if (Keyboard_state ^ Keyboard_state_last) //(0,4)(0,5)(0,6)(0,7)(1,4)......(3,6)(3,7)
    {
      if (Keyboard_state & 0x8000) //.
      {
        if (point_num == 0)
        {
          strcat(KB_input_char, ".");
          point_num++;
        }
      }
      if (Keyboard_state & 0x4000) // 0
      {
        strcat(KB_input_char, "0");
      }
      if (Keyboard_state & 0x2000) // 设定/确认
      {
        if (to_set_or_set == 1)
        {
          point_num = 0;
          if ((KB_input_char[0] == 0) || ((KB_input_char[0] == 0) && (KB_input_char[1] == '.')))
          { // 输入错误
          }
          else
          {
            sscanf(KB_input_char, "%f", &KB_input_float);
            if (Parameter_adj_enable == 1) // 调参模式
            {
              *Parameter_list_pointer[Parameter_list_use_now] = KB_input_float;
            }
            else if (fsm_UI_communication.fsm_UI_mode == fsm_UI_mode_Cur)
            {
              if (value_set_now == 0) // k
              {
                fsm_UI_communication.Con_Cur_info.k = KB_input_float;
                fsm_UI_communication.Con_Cur_info.en_flag = 1;
              }
              else if (value_set_now == 1) // Io
              {
                fsm_UI_communication.Con_Cur_info.Io = KB_input_float;
                fsm_UI_communication.Con_Cur_info.en_flag = 1;
              }
            }
          }
          to_set_or_set = 0;
        }
        else
        {
          to_set_or_set = 1;
        }
        point_num = 0;
        memset(KB_input_char, 0, 32 * sizeof(char));
      }
      if (Keyboard_state & 0x1000) // 清空
      {
        point_num = 0;
        memset(KB_input_char, 0, 32 * sizeof(char));
      }
      if (Keyboard_state & 0x0800) // 1
      {
        strcat(KB_input_char, "1");
      }
      if (Keyboard_state & 0x0400) // 2
      {
        strcat(KB_input_char, "2");
      }
      if (Keyboard_state & 0x0200) // 3
      {
        strcat(KB_input_char, "3");
      }
      if (Keyboard_state & 0x0100) // 上一个参数
      {
        if (Parameter_adj_enable == 1)
        {
          if (Parameter_list_use_now >= 1)
            Parameter_list_use_now--;
        }
        else
        {
          if (value_set_now <= 2 - 1)
            value_set_now++;
        }
      }
      if (Keyboard_state & 0x0080) // 4
      {
        strcat(KB_input_char, "4");
      }
      if (Keyboard_state & 0x0040) // 5
      {
        strcat(KB_input_char, "5");
      }
      if (Keyboard_state & 0x0020) // 6
      {
        strcat(KB_input_char, "6");
      }
      if (Keyboard_state & 0x0010) // 下一个参数
      {
        if (Parameter_adj_enable == 1)
        {
          if (Parameter_list_use_now <= Parameter_list_num - 1 - 1)
            Parameter_list_use_now++;
        }
        else
        {
          if (value_set_now >= 1)
            value_set_now--;
        }
      }
      if (Keyboard_state & 0x0008) // 7
      {
        strcat(KB_input_char, "7");
      }
      if (Keyboard_state & 0x0004) // 8
      {
        strcat(KB_input_char, "8");
      }
      if (Keyboard_state & 0x0002) // 9
      {
        strcat(KB_input_char, "9");
      }
      if (Keyboard_state & 0x0001) // 调参模式
      {
        Parameter_adj_enable = !Parameter_adj_enable;
      }
    }
    Keyboard_state_last = Keyboard_state;

    //    sprintf(OLED_I2C_Str[0], "KB:%4X", Keyboard_state);
    //    sprintf(OLED_I2C_Str[1], "%s", KB_input_char);
    //    sprintf(OLED_I2C_Str[2], "%f", KB_input_float);
    //    sprintf(OLED_I2C_Str[3], "KB:%4X", Keyboard_state);
    //    sprintf(OLED_I2C_Str[4], "%s", KB_input_char);
    //    sprintf(OLED_I2C_Str[5], "%f", KB_input_float);

    if ((Parameter_adj_enable == 0) && (fsm_UI_communication.fsm_UI_mode == fsm_UI_mode_Cur) && (to_set_or_set))
    {
      sprintf(OLED_I2C_Str[0], "%s", KB_input_char);
    }
    else
    {
      if (fsm_UI_communication.fsm_UI_mode == fsm_UI_mode_idle)
      {
        sprintf(OLED_I2C_Str[0], "controler_%d", (INV_MACHINE_NUM));
      }
      else
      {
        sprintf(OLED_I2C_Str[0], "controler_%d_in_%s_mode", (INV_MACHINE_NUM), (fsm_UI_communication.fsm_UI_mode == fsm_UI_mode_Cur) ? ("I") : ("V"));
      }
    }

    if (Parameter_adj_enable == 1) // 调参模式
    {
      // Parameter_list_pointer
      // Parameter_list_name
      // Parameter_list_use_now
      sprintf(OLED_I2C_Str[1], "%d", Parameter_list_use_now);
      sprintf(OLED_I2C_Str[2], "%s", Parameter_list_name[(Parameter_list_use_now < Parameter_list_num) ? (Parameter_list_use_now) : (Parameter_list_num - 1)]);
      sprintf(OLED_I2C_Str[3], "%f", *Parameter_list_pointer[(Parameter_list_use_now < Parameter_list_num) ? (Parameter_list_use_now) : (Parameter_list_num - 1)]);
      sprintf(OLED_I2C_Str[4], "%s", KB_input_char);
      sprintf(OLED_I2C_Str[5], "");
    }
    else if (fsm_UI_communication.fsm_UI_mode == fsm_UI_mode_idle) // IDLE界面
    {
      sprintf(OLED_I2C_Str[1], "wait...");
      sprintf(OLED_I2C_Str[2], "");
      sprintf(OLED_I2C_Str[3], "");
      sprintf(OLED_I2C_Str[4], "");
      sprintf(OLED_I2C_Str[5], "");
    }
    else if (fsm_UI_communication.fsm_UI_mode == fsm_UI_mode_Cur) // 电流模式界面
    {
      sprintf(OLED_I2C_Str[1], "K_seted    :%.5f", fsm_UI_communication.Con_Cur_info.k);
      sprintf(OLED_I2C_Str[2], "Io_seted   :%.5fA", fsm_UI_communication.Con_Cur_info.Io);
      sprintf(OLED_I2C_Str[3], "V_RMS      :%.5fV", o_Vol_rms);
      sprintf(OLED_I2C_Str[4], "I_RMS      :%.5fA", o_Cur_rms);
      sprintf(OLED_I2C_Str[5], "acBusV_rms :%.5fA", acBusVol_rms);
    }
#if INV_MACHINE_NUM == 1
    else if (fsm_UI_communication.fsm_UI_mode == fsm_UI_mode_Vol) // 电压模式界面
    {
      sprintf(OLED_I2C_Str[1], "V_RMS :%.5fV", o_Vol_rms);
      sprintf(OLED_I2C_Str[2], "I_RMS :%.5fA", o_Cur_rms);
      sprintf(OLED_I2C_Str[3], "");
      sprintf(OLED_I2C_Str[4], "");
      sprintf(OLED_I2C_Str[5], "");
    }
#endif
    else
    {
      sprintf(OLED_I2C_Str[1], "%s", "fsm_UI_mode_ERROR");
      sprintf(OLED_I2C_Str[2], "");
      sprintf(OLED_I2C_Str[3], "");
      sprintf(OLED_I2C_Str[4], "");
      sprintf(OLED_I2C_Str[5], "");
    }

    /*
    sprintf(OLED_I2C_Str[1], "%s", KB_input_char);
    sprintf(OLED_I2C_Str[2], "%f", KB_input_float);
    sprintf(OLED_I2C_Str[3], "KB:%4X", Keyboard_state);
    sprintf(OLED_I2C_Str[4], "%s", KB_input_char);
    sprintf(OLED_I2C_Str[5], "%f", KB_input_float);
*/
    u8g2_FirstPage(&OLED_I2C1);
    do
    {
      u8g2_SetFont(&OLED_I2C1, u8g2_font_courR08_tf);
      u8g2_DrawStr(&OLED_I2C1, 2, 12, OLED_I2C_Str[0]);
      //			u8g2_DrawLine(&OLED_I2C1,0,13,127,13);
      u8g2_DrawStr(&OLED_I2C1, 2, 22, OLED_I2C_Str[1]);
      //			u8g2_DrawLine(&OLED_I2C1,0,23,127,23);
      u8g2_DrawStr(&OLED_I2C1, 2, 32, OLED_I2C_Str[2]);
      //			u8g2_DrawLine(&OLED_I2C1,0,33,127,33);
      u8g2_DrawStr(&OLED_I2C1, 2, 42, OLED_I2C_Str[3]);
      //			u8g2_DrawLine(&OLED_I2C1,0,43,127,43);
      u8g2_DrawStr(&OLED_I2C1, 2, 52, OLED_I2C_Str[4]);
      //			u8g2_DrawLine(&OLED_I2C1,0,53,127,53);
      u8g2_DrawStr(&OLED_I2C1, 2, 62, OLED_I2C_Str[5]);
      u8g2_DrawRFrame(&OLED_I2C1, 0, 0, 128, 64, 0);

      if ((to_set_or_set) && (flash_bit))
      {
        if (Parameter_adj_enable == 1)
        {
          u8g2_DrawRFrame(&OLED_I2C1, 1, 13 + 10 * 3, 126, 11, 0);
        }
        else
        {
          if (fsm_UI_communication.fsm_UI_mode == fsm_UI_mode_Cur)
          {
            u8g2_DrawRFrame(&OLED_I2C1, 1, 13 + 10 * value_set_now, 126, 11, 0);
          }
        }
      }
    } while (u8g2_NextPage(&OLED_I2C1));
    flash_bit = !flash_bit;

#endif

    //		MY_HRTIM_SetDuty_MAB(0.3,0.1,0.9);
    //		HAL_Delay(1000);
    //		MY_HRTIM_SetDuty_MAB(0.7,0.1,0.9);
    //		HAL_Delay(1000);
  }
  /* USER CODE END 3 */
}

void SystemClock_Config(void)
{
  RCC_OscInitTypeDef RCC_OscInitStruct = {0};
  RCC_ClkInitTypeDef RCC_ClkInitStruct = {0};

  /** Configure the main internal regulator output voltage
   */
  HAL_PWREx_ControlVoltageScaling(PWR_REGULATOR_VOLTAGE_SCALE1_BOOST);

  /** Initializes the RCC Oscillators according to the specified parameters
   * in the RCC_OscInitTypeDef structure.
   */
  RCC_OscInitStruct.OscillatorType = RCC_OSCILLATORTYPE_HSE;
  RCC_OscInitStruct.HSEState = RCC_HSE_ON;
  RCC_OscInitStruct.PLL.PLLState = RCC_PLL_ON;
  RCC_OscInitStruct.PLL.PLLSource = RCC_PLLSOURCE_HSE;
  RCC_OscInitStruct.PLL.PLLM = RCC_PLLM_DIV2;
  RCC_OscInitStruct.PLL.PLLN = 85;
  RCC_OscInitStruct.PLL.PLLP = RCC_PLLP_DIV2;
  RCC_OscInitStruct.PLL.PLLQ = RCC_PLLQ_DIV2;
  RCC_OscInitStruct.PLL.PLLR = RCC_PLLR_DIV2;
  if (HAL_RCC_OscConfig(&RCC_OscInitStruct) != HAL_OK)
  {
    Error_Handler();
  }

  /** Initializes the CPU, AHB and APB buses clocks
   */
  RCC_ClkInitStruct.ClockType = RCC_CLOCKTYPE_HCLK | RCC_CLOCKTYPE_SYSCLK | RCC_CLOCKTYPE_PCLK1 | RCC_CLOCKTYPE_PCLK2;
  RCC_ClkInitStruct.SYSCLKSource = RCC_SYSCLKSOURCE_PLLCLK;
  RCC_ClkInitStruct.AHBCLKDivider = RCC_SYSCLK_DIV1;
  RCC_ClkInitStruct.APB1CLKDivider = RCC_HCLK_DIV1;
  RCC_ClkInitStruct.APB2CLKDivider = RCC_HCLK_DIV1;

  if (HAL_RCC_ClockConfig(&RCC_ClkInitStruct, FLASH_LATENCY_4) != HAL_OK)
  {
    Error_Handler();
  }
}

/* USER CODE BEGIN 4 */

// uint16_t ADC_buffer[ADC1_CHANNEL_NUM];
void HAL_ADC_ConvCpltCallback(ADC_HandleTypeDef *hadc)
{
  float ac_value;

  //	if(hadc->Instance==ADC1)
  //	{
  //
  //	}
  if (hadc->Instance == ADC4)
  {

    /* 采样 */
    // 逆变采样

#if INV_MACHINE_NUM == 1
    acBusVol = (ADC_buffer_2[1] * 3.3f / 4095.0f - 1.60f) * 30;
    ac_value = (ADC_buffer_1[0] * 3.3f / 4095.0f - 1.60f);
    o_Vol = ac_value * 30;
    // o_Cur = (ADC_buffer_2[0] * 3.3f / 4095.0f - 1.5995f) / 0.25;
    o_Cur = (ADC_buffer_2[0] - 2049.705882) / (-313.2526439) + 0.1f;
#endif
#if INV_MACHINE_NUM == 2
    acBusVol = (ADC_buffer_2[1] * 3.3f / 4095.0f - 1.60f) * 30;
    ac_value = (ADC_buffer_1[0] * 3.3f / 4095.0f - 1.60f);
    o_Vol = ac_value * 30;
    // o_Cur = (ADC_buffer_2[0] * 3.3f / 4095.0f - 1.5995f) / 0.25;
    o_Cur = (ADC_buffer_2[0] - 2049.705882) / (-313.2526439) + 0.05f;
#endif

o_Power = o_Cur * o_Vol;
#ifdef USE_Current_Backfilling_PROTECT

    // 电流倒灌检测
    if (o_Power < PROTECT_Current_Backfilling_W)
    {
      error();
    }
#endif

    /*ref sine 生成*/
    if (Loop_Controller.ref_sine_src == ref_sine_src_enum_Internal_sine)
    {
      // 内部sin作为ref
      ref_sine = ((float32_t)arm_sin_f32((Caculate_50k_to_50_index * 2 * PI / 1000.0f)));
    }
    else if (Loop_Controller.ref_sine_src == ref_sine_src_enum_PLL_sine)
    {
      // PLL作为ref
      spll_Outputs_wrapper(&acBusVol, &y0, &y1, &sinf_out);
      ref_sine = ((float32_t)arm_sin_f32(spll1.theta + (sin_Phase_det * 2 * PI / 360.0)));
#ifdef __DEBUG
      DAC_buffer[0] = (ref_sine + 1) / 2 * 4095.0f;
#endif
    }

    o_Vol_rms_sum += o_Vol * o_Vol;                      // 读取采样值,计算平方和
    o_Cur_rms_sum += o_Cur * o_Cur;                      // 读取采样值,计算平方和
    acBusVol_rms_sum += acBusVol * acBusVol;             // 读取采样值,计算平方和
    duty_Virtual_rms_sum += duty_Virtual * duty_Virtual; // 读取采样值,计算平方和
    if (Caculate_50k_to_50_index >= 1300)
    {
      Caculate_50k_to_50_index = 0; // 50Hz

      // 电流电压RMS计算
      //  Vrms
      o_Vol_rms = (float)sqrtf(o_Vol_rms_sum / 1300); // 平方和取平均，再开方
      o_Vol_rms_sum = 0;
      // Irms
      o_Cur_rms = (float)sqrtf(o_Cur_rms_sum / 1300); // 平方和取平均，再开方
      o_Cur_rms_sum = 0;
      // acBusVolrms
      acBusVol_rms = (float)sqrtf(acBusVol_rms_sum / 1300); // 平方和取平均，再开方
      acBusVol_rms_sum = 0;
      // dutyrms
      duty_Virtual_rms = (float)sqrtf(duty_Virtual_rms_sum / 1300); // 平方和取平均，再开方
      duty_Virtual_rms_sum = 0;

if(o_Cur_rms>5.0f){
error();
}
#ifdef USE_DUTYrms_ERROR
      if (duty_Virtual_rms > 0.9) // 参考值0.707105
      {
        error();
      }

#endif // DEBUG

      if (Loop_Controller.loop_switch_enum == V_loop)
      {
        // 电压环
        k_Vol = pid_process_o_Vol(&pid_o_Vol, Loop_Controller.V_rms_aim, o_Vol_rms, 1, 0.0001); // 电压闭环
      }
      else if (Loop_Controller.loop_switch_enum == I_loop)
      {
        // 电流有效值环
        k_Cur = pid_process_o_Cur(&pid_o_Cur, Loop_Controller.I_rms_aim, o_Cur_rms, 10, 0.000001); // 电流有效值闭环
      }
    }
    else
    {
      Caculate_50k_to_50_index++;
    }

    if (Loop_Controller.loop_switch_enum == V_loop)
    {
      // 电压环输出
      o_Vol_ref = k_Vol * ref_sine;
      HB_duty = o_Vol_ref * 0.5 + 0.5;
    }
    else if (Loop_Controller.loop_switch_enum == I_loop)
    {
      // 电流环PR和输出
      // k_Cur=0.89f;
      o_Cur_ref = k_Cur * ref_sine;                                             // 获取PR预期值
      HB_duty = (PR_process_o_Cur(&pr_o_Cur, o_Cur_ref, o_Cur) + 100) / 200.0f; // 电流瞬时值闭环
      // HB_duty = (  ref_sine+ 1) / 2.2f;//电流瞬时值闭环
    }

    HB_duty = CLAMP(HB_duty,0.99,0.01);
    duty_Virtual = 2.0f * (HB_duty - 0.5f);
#if __DEBUG == _DEBUG_DUTY_SENSOR_
    //HB_duty = 0.6f;
#endif
    MY_HRTIM_SetDuty_MAB(HB_duty, 0.02, 0.98);
#ifdef __DEBUG
    HAL_DAC_SetValue(&hdac1, DAC_CHANNEL_1, DAC_ALIGN_12B_R, DAC_buffer[0]);
#endif
    // HAL_DAC_Start_DMA(&hdac1,DAC_CHANNEL_1,(uint32_t *)DAC_buffer,1,DAC_ALIGN_12B_R);
    // HAL_DAC_SetValue(&hdac1,DAC_CHANNEL_1,DAC_ALIGN_12B_R,DAC_buffer[0]);
    // HAL_GPIO_TogglePin(check_GPIO_Port,check_Pin);
  }
}

void MY_HRTIM_SetDuty_MAB(float duty_to_set, float duty_min, float duty_max) // 0<=duty_min<=duty_to_set<=duty_max<=1
{
  float processed_duty;
  uint32_t HRTIM_MAB_period = HRTIM_MAB_PERIOD, HRTIM_AB_duty;

  processed_duty = (duty_to_set >= duty_min) ? ((duty_to_set <= duty_max) ? (duty_to_set) : (duty_max)) : (duty_min);

  HRTIM_AB_duty = (uint32_t)((float)HRTIM_MAB_period * processed_duty);

  hhrtim1.Instance->sMasterRegs.MCMP2R = 48; // ADC_trigger
  hhrtim1.Instance->sMasterRegs.MCMP3R = 48; // TIMERA_trigger
  hhrtim1.Instance->sMasterRegs.MCMP4R = 48; // TIMERB_trigger
  hhrtim1.Instance->sTimerxRegs[0].CMP1xR = (HRTIM_AB_duty);
  hhrtim1.Instance->sTimerxRegs[1].CMP1xR = (HRTIM_AB_duty);
}
/*原型勿删
hhrtim1.Instance->sMasterRegs.MCMP1R=100;
hhrtim1.Instance->sMasterRegs.MCMP2R=100;
hhrtim1.Instance->sMasterRegs.MCMP4R=100+(54400/4);
hhrtim1.Instance->sTimerxRegs[0].CMP1xR=(54400/2);
hhrtim1.Instance->sTimerxRegs[1].CMP1xR=(54400/2);
*/

// OLED_I2C1
uint8_t u8x8_OLED_I2C1_gpio_and_delay(U8X8_UNUSED u8x8_t *u8x8, U8X8_UNUSED uint8_t msg, U8X8_UNUSED uint8_t arg_int, U8X8_UNUSED void *arg_ptr)
{
  switch (msg)
  {
  case U8X8_MSG_GPIO_AND_DELAY_INIT:
    //    HAL_Delay(1);
    break;
  case U8X8_MSG_DELAY_MILLI:
    //    HAL_Delay(arg_int);
    break;
  }
  return 1;
}

uint8_t u8x8_OLED_I2C1_hw(u8x8_t *u8x8, uint8_t msg, uint8_t arg_int, void *arg_ptr)
{
  static uint8_t buffer[32];
  static uint8_t buf_idx;
  uint8_t *data;

  switch (msg)
  {
  case U8X8_MSG_BYTE_SEND:
    data = (uint8_t *)arg_ptr;
    while (arg_int > 0)
    {
      buffer[buf_idx++] = *data;
      data++;
      arg_int--;
    }
    break;
  case U8X8_MSG_BYTE_START_TRANSFER:
    buf_idx = 0;
    break;
  case U8X8_MSG_BYTE_END_TRANSFER:
    HAL_I2C_Master_Transmit(&hi2c1, u8x8_GetI2CAddress(u8x8), buffer, buf_idx, 1000);
    break;
  default:
    return 0;
  }
  return 1;
}
/*
 *函数功能：STM32软复位函数
 */
void Stm32_SoftReset(void)
{
  __set_FAULTMASK(1); // 禁止所有的可屏蔽中断
  while (1)
  {
  }
  NVIC_SystemReset(); // 软件复位
}

void error()
{
  if(error_cnt==250){
  __disable_irq();
  Relay_disConnect_Func();
  Stm32_SoftReset();
  }else{
    error_cnt++;
  }

}
/* USER CODE END 4 */

void Error_Handler(void)
{
  __disable_irq();
  while (1)
  {
  }
}
